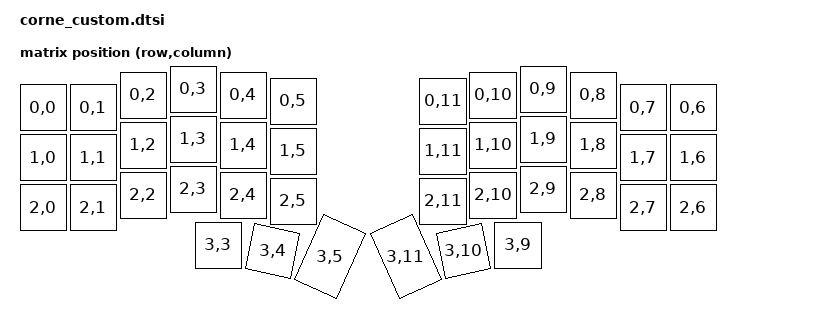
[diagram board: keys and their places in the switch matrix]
/*
 * Hand-wired 6-column Corne (21 keys/half, 42 total).
 *
 * Wiring (marc's build, nRF52840 SuperMini / nice!nano-compatible):
 *   Rows: qwert=P0.02, asdfg=P0.10, zxcvb=P0.09, thumbs=P1.00
 *   Cols (outer pinky -> index): 022=P0.22, qaz=P1.15, wsx=P1.13,
 *        edc/thumb2=P1.04, rfv/thumb1=P1.06, tgb/thumb0=P0.11
 *
 * Combined 12-column transform (left cols 0-5, right cols 6-11), matching
 * the upstream corne 6-column layout so the keymap's 42 positions line up.
 * Each half physically scans a 6-col x 4-row matrix; the split framework
 * offsets the right half's columns by +6 (see corne_custom_right.overlay
 * once you wire it). Thumbs are on local cols 3,4,5 (edc/rfv/tgb).
 */

#include <dt-bindings/zmk/matrix_transform.h>
#include <physical_layouts.dtsi>

/*
 * The keymap is plain, natural QWERTY. The physical wiring quirk lives HERE,
 * in the single shared transform (the central/left owns it; the right half
 * just reports raw row/col and the central applies this map + col-offset=6).
 *
 * Both halves are wired columns outer-pinky -> index (local col 0 = outer).
 *   Left  reads naturally: keymap col 0 = physical col 0 (outer)  -> RC(r,0..5)
 *   Right must read center -> outer so the keymap can be normal (Y U I O P ..),
 *         so its 6 keymap slots point at physical cols in REVERSE: 5,4,3,2,1,0
 *         which, after col-offset=6, are transform cols 11,10,9,8,7,6.
 * Thumbs are physical cols 3,4,5 on each half.
 */

/ {
	/*
	 * ZMK Studio needs a chosen zmk,physical-layout (not a chosen
	 * zmk,matrix-transform). The layout's `transform` property still points at
	 * our custom default_transform below, so the reversed right-half column
	 * wiring is fully preserved — this is a relocation, not a rewrite. The
	 * `keys` geometry is the canonical foostan 6-col Corne (upstream
	 * dts/layouts/foostan/corne/6column.dtsi), in keymap-position order.
	 */
	chosen {
		zmk,kscan = &kscan0;
		zmk,physical-layout = &physical_layout0;
	};

	physical_layout0: physical_layout_0 {
		compatible = "zmk,physical-layout";
		display-name = "Corne Custom";
		transform = <&default_transform>;
		keys  //                     w   h    x    y     rot    rx    ry
			= <&key_physical_attrs 100 100    0   37       0     0     0>
			, <&key_physical_attrs 100 100  100   37       0     0     0>
			, <&key_physical_attrs 100 100  200   12       0     0     0>
			, <&key_physical_attrs 100 100  300    0       0     0     0>
			, <&key_physical_attrs 100 100  400   12       0     0     0>
			, <&key_physical_attrs 100 100  500   24       0     0     0>
			, <&key_physical_attrs 100 100  800   24       0     0     0>
			, <&key_physical_attrs 100 100  900   12       0     0     0>
			, <&key_physical_attrs 100 100 1000    0       0     0     0>
			, <&key_physical_attrs 100 100 1100   12       0     0     0>
			, <&key_physical_attrs 100 100 1200   37       0     0     0>
			, <&key_physical_attrs 100 100 1300   37       0     0     0>
			, <&key_physical_attrs 100 100    0  137       0     0     0>
			, <&key_physical_attrs 100 100  100  137       0     0     0>
			, <&key_physical_attrs 100 100  200  112       0     0     0>
			, <&key_physical_attrs 100 100  300  100       0     0     0>
			, <&key_physical_attrs 100 100  400  112       0     0     0>
			, <&key_physical_attrs 100 100  500  124       0     0     0>
			, <&key_physical_attrs 100 100  800  124       0     0     0>
			, <&key_physical_attrs 100 100  900  112       0     0     0>
			, <&key_physical_attrs 100 100 1000  100       0     0     0>
			, <&key_physical_attrs 100 100 1100  112       0     0     0>
			, <&key_physical_attrs 100 100 1200  137       0     0     0>
			, <&key_physical_attrs 100 100 1300  137       0     0     0>
			, <&key_physical_attrs 100 100    0  237       0     0     0>
			, <&key_physical_attrs 100 100  100  237       0     0     0>
			, <&key_physical_attrs 100 100  200  212       0     0     0>
			, <&key_physical_attrs 100 100  300  200       0     0     0>
			, <&key_physical_attrs 100 100  400  212       0     0     0>
			, <&key_physical_attrs 100 100  500  224       0     0     0>
			, <&key_physical_attrs 100 100  800  224       0     0     0>
			, <&key_physical_attrs 100 100  900  212       0     0     0>
			, <&key_physical_attrs 100 100 1000  200       0     0     0>
			, <&key_physical_attrs 100 100 1100  212       0     0     0>
			, <&key_physical_attrs 100 100 1200  237       0     0     0>
			, <&key_physical_attrs 100 100 1300  237       0     0     0>
			, <&key_physical_attrs 100 100  350  312       0     0     0>
			, <&key_physical_attrs 100 100  450  312    1200   450   412>
			, <&key_physical_attrs 100 150  548  283    2400   548   433>
			, <&key_physical_attrs 100 150  752  283  (-2400)  852   433>
			, <&key_physical_attrs 100 100  850  312  (-1200)  950   412>
			, <&key_physical_attrs 100 100  950  312       0     0     0>
		;
	};

	default_transform: keymap_transform_0 {
		compatible = "zmk,matrix-transform";
		columns = <12>;
		rows = <4>;
		/* | left cols 0..5 (natural) |   | right cols reversed: 11..6 | */
		map = <
RC(0,0) RC(0,1) RC(0,2) RC(0,3) RC(0,4) RC(0,5)   RC(0,11) RC(0,10) RC(0,9) RC(0,8) RC(0,7) RC(0,6)
RC(1,0) RC(1,1) RC(1,2) RC(1,3) RC(1,4) RC(1,5)   RC(1,11) RC(1,10) RC(1,9) RC(1,8) RC(1,7) RC(1,6)
RC(2,0) RC(2,1) RC(2,2) RC(2,3) RC(2,4) RC(2,5)   RC(2,11) RC(2,10) RC(2,9) RC(2,8) RC(2,7) RC(2,6)
                        RC(3,3) RC(3,4) RC(3,5)   RC(3,11) RC(3,10) RC(3,9)
		>;
	};

	kscan0: kscan {
		compatible = "zmk,kscan-gpio-matrix";
		wakeup-source;
		/* diode-direction + gpios set per-half in the .overlay files */
	};
};

/*
 * P0.09 / P0.10 are the nRF52840 NFC antenna pins by default. Rows are wired
 * to them (left 009+010, right 010), so free them for GPIO. On Zephyr 3.5
 * (ZMK v0.3) this is a devicetree property on UICR, not a Kconfig symbol.
 */
&uicr {
	nfct-pins-as-gpios;
};
